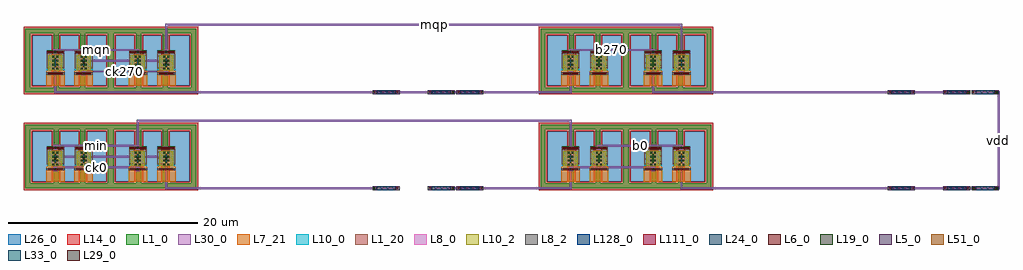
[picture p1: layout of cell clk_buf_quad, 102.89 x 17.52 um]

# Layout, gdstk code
from math import pi, radians
import gdstk
lib = gdstk.Library(unit=1e-6, precision=1e-09)
def R(c, l, rs):  # rectangles x0, y0, x1, y1
    for r in rs: c.add(gdstk.rectangle(r[:2], r[2:], *l))
def A(c, l, x, y, w, h, nx, ny, dx, dy):  # array of equal rectangles
    R(c, l, [(x+i*dx, y+j*dy, x+i*dx+w, y+j*dy+h) for i in range(nx) for j in range(ny)])
def P(c, l, *ps):  # polygons
    for p in ps: c.add(gdstk.Polygon(p, *l))
L1_0 = (1, 0)
L1_20 = (1, 20)
L5_0 = (5, 0)
L6_0 = (6, 0)
L7_21 = (7, 21)
L8_0 = (8, 0)
L8_2 = (8, 2)
L10_0 = (10, 0)
L10_2 = (10, 2)
L14_0 = (14, 0)
L19_0 = (19, 0)
L24_0 = (24, 0)
L26_0 = (26, 0)
L29_0 = (29, 0)
L30_0 = (30, 0)
L33_0 = (33, 0)
L51_0 = (51, 0)
L111_0 = (111, 0)
L128_0 = (128, 0)

npn13g2_base_cdns_675179 = lib.new_cell('npn13G2_base_CDNS_675179387640')
R(npn13g2_base_cdns_675179, L1_0, [(-0.925,-1.28,0.925,-0.98)])
P(npn13g2_base_cdns_675179, L1_20, [(-0.925,-0.98),(-0.925,0.62),(-0.445,0.62),(-0.235,0.83),(0.235,0.83),(0.445,0.62),(0.925,0.62),(0.925,-0.98)])
R(npn13g2_base_cdns_675179, L6_0, [(-0.825,-1.21,0.825,-1.05), (-0.76,1.06,0.76,1.22)])
P(npn13g2_base_cdns_675179, L7_21, [(-0.305,-0.94),(-0.555,-0.69),(-0.555,0.48),(-0.975,0.9),(-0.975,2.43),(0.975,2.43),(0.975,0.9),(0.555,0.48),(0.555,-0.69),(0.305,-0.94)])
R(npn13g2_base_cdns_675179, L8_0, [(-0.925,-1.25,0.925,-1.01), (-0.35,-0.77,0.35,0.785), (-0.975,1.02,0.975,1.26)])
R(npn13g2_base_cdns_675179, L10_0, [(-0.925,-0.77,0.925,0.785)])
A(npn13g2_base_cdns_675179, L19_0, -0.3, -0.7, 0.19, 0.19, 1, 4, 0, 0.41)
A(npn13g2_base_cdns_675179, L19_0, 0.11, -0.7, 0.19, 0.19, 1, 4, 0, 0.41)
R(npn13g2_base_cdns_675179, L33_0, [(-0.035,-0.45,0.035,0.45), (-0.035,-0.45,0.035,0.45)])
R(npn13g2_base_cdns_675179, L51_0, [(-0.085,-0.5,0.085,0.5)])
npn13g2_base_cdns_675179.add(gdstk.Label('npn13G2', (0.015,-2.31), layer=63, texttype=0))
npn13g2_base_cdns_675179.add(gdstk.Label('npn13G2_base', (0,0), layer=51, texttype=0))

npn13g2 = lib.new_cell('npn13G2')
P(npn13g2, L1_0, [(-3.15,-3.13),(-3.15,3.58),(2.65,3.58),(2.65,3.08),(-2.65,3.08),(-2.65,-2.63),(2.65,-2.63),(2.65,3.58),(3.15,3.58),(3.15,-3.13)])
R(npn13g2, L8_2, [(-0.965,-1.26,0.975,-1.02), (-0.915,1.01,0.925,1.25)])
R(npn13g2, L10_2, [(-0.745,-0.78,0.745,0.77)])
P(npn13g2, L14_0, [(-3.35,-3.33),(-3.35,3.78),(2.45,3.78),(2.45,2.88),(-2.45,2.88),(-2.45,-2.43),(2.45,-2.43),(2.45,3.78),(3.35,3.78),(3.35,-3.33)])
R(npn13g2, L26_0, [(-2.45,-2.43,2.45,2.88)])
npn13g2.add(gdstk.Reference(npn13g2_base_cdns_675179, (0,0), x_reflection=True))
npn13g2.add(gdstk.Label('Ae=1*1*0.07*0.90', (-1.977,-2.546), layer=63, texttype=0))
npn13g2.add(gdstk.Label('E', (0,-0.005), layer=63, texttype=0))
npn13g2.add(gdstk.Label('B', (0.005,-1.14), layer=63, texttype=0))
npn13g2.add(gdstk.Label('C', (0.005,1.13), layer=63, texttype=0))

xqi1a__clk_buf_quad_xqi1 = lib.new_cell('XQi1a__clk_buf_quad_XQi1a')
xqi1a__clk_buf_quad_xqi1.add(gdstk.Reference(npn13g2, (3.35,3.33)))
xqi1a__clk_buf_quad_xqi1.add(gdstk.Reference(npn13g2, (12.05,3.33)))

c_npn13g2_base_cdns_675179 = lib.new_cell('npn13G2_base_CDNS_675179387640$1')
R(c_npn13g2_base_cdns_675179, L1_0, [(-0.925,-1.28,0.925,-0.98)])
P(c_npn13g2_base_cdns_675179, L1_20, [(-0.925,-0.98),(-0.925,0.62),(-0.445,0.62),(-0.235,0.83),(0.235,0.83),(0.445,0.62),(0.925,0.62),(0.925,-0.98)])
R(c_npn13g2_base_cdns_675179, L6_0, [(-0.825,-1.21,0.825,-1.05), (-0.76,1.06,0.76,1.22)])
P(c_npn13g2_base_cdns_675179, L7_21, [(-0.305,-0.94),(-0.555,-0.69),(-0.555,0.48),(-0.975,0.9),(-0.975,2.43),(0.975,2.43),(0.975,0.9),(0.555,0.48),(0.555,-0.69),(0.305,-0.94)])
R(c_npn13g2_base_cdns_675179, L8_0, [(-0.925,-1.25,0.925,-1.01), (-0.35,-0.77,0.35,0.785), (-0.975,1.02,0.975,1.26)])
R(c_npn13g2_base_cdns_675179, L10_0, [(-0.925,-0.77,0.925,0.785)])
A(c_npn13g2_base_cdns_675179, L19_0, -0.3, -0.7, 0.19, 0.19, 1, 4, 0, 0.41)
A(c_npn13g2_base_cdns_675179, L19_0, 0.11, -0.7, 0.19, 0.19, 1, 4, 0, 0.41)
R(c_npn13g2_base_cdns_675179, L33_0, [(-0.035,-0.45,0.035,0.45), (-0.035,-0.45,0.035,0.45)])
R(c_npn13g2_base_cdns_675179, L51_0, [(-0.085,-0.5,0.085,0.5)])
c_npn13g2_base_cdns_675179.add(gdstk.Label('npn13G2', (0.015,-2.31), layer=63, texttype=0))
c_npn13g2_base_cdns_675179.add(gdstk.Label('npn13G2_base', (0,0), layer=51, texttype=0))

npn13g2_1 = lib.new_cell('npn13G2$1')
P(npn13g2_1, L1_0, [(-3.15,-3.13),(-3.15,3.58),(2.65,3.58),(2.65,3.08),(-2.65,3.08),(-2.65,-2.63),(2.65,-2.63),(2.65,3.58),(3.15,3.58),(3.15,-3.13)])
R(npn13g2_1, L8_2, [(-0.965,-1.26,0.975,-1.02), (-0.915,1.01,0.925,1.25)])
R(npn13g2_1, L10_2, [(-0.745,-0.78,0.745,0.77)])
P(npn13g2_1, L14_0, [(-3.35,-3.33),(-3.35,3.78),(2.45,3.78),(2.45,2.88),(-2.45,2.88),(-2.45,-2.43),(2.45,-2.43),(2.45,3.78),(3.35,3.78),(3.35,-3.33)])
R(npn13g2_1, L26_0, [(-2.45,-2.43,2.45,2.88)])
npn13g2_1.add(gdstk.Reference(c_npn13g2_base_cdns_675179, (0,0), x_reflection=True))
npn13g2_1.add(gdstk.Label('Ae=1*1*0.07*0.90', (-1.977,-2.546), layer=63, texttype=0))
npn13g2_1.add(gdstk.Label('E', (0,-0.005), layer=63, texttype=0))
npn13g2_1.add(gdstk.Label('B', (0.005,-1.14), layer=63, texttype=0))
npn13g2_1.add(gdstk.Label('C', (0.005,1.13), layer=63, texttype=0))

xqi1b__clk_buf_quad_xqi1 = lib.new_cell('XQi1b__clk_buf_quad_XQi1b')
xqi1b__clk_buf_quad_xqi1.add(gdstk.Reference(npn13g2_1, (3.35,3.33)))
xqi1b__clk_buf_quad_xqi1.add(gdstk.Reference(npn13g2_1, (12.05,3.33)))

clk_buf_quad_rti1__core = lib.new_cell('clk_buf_quad_Rti1__core')
R(clk_buf_quad_rti1__core, L5_0, [(0,0,0.42,0.42), (2.42,0,2.84,0.42)])
R(clk_buf_quad_rti1__core, L6_0, [(0.13,0.13,0.29,0.29), (2.55,0.13,2.71,0.29)])
R(clk_buf_quad_rti1__core, L8_0, [(0,0,0.42,0.42), (2.42,0,2.84,0.42)])
R(clk_buf_quad_rti1__core, L24_0, [(0.42,0,2.42,0.42)])
R(clk_buf_quad_rti1__core, L111_0, [(0.42,0,2.42,0.42)])
R(clk_buf_quad_rti1__core, L128_0, [(0.42,0,2.42,0.42)])

rti1__clk_buf_quad_rti1 = lib.new_cell('Rti1__clk_buf_quad_Rti1')
rti1__clk_buf_quad_rti1.add(gdstk.Reference(clk_buf_quad_rti1__core, (0,0)))

clk_buf_quad_rli1a__core = lib.new_cell('clk_buf_quad_RLi1a__core')
R(clk_buf_quad_rli1a__core, L5_0, [(0,0,0.42,0.42), (2.42,0,2.84,0.42)])
R(clk_buf_quad_rli1a__core, L6_0, [(0.13,0.13,0.29,0.29), (2.55,0.13,2.71,0.29)])
R(clk_buf_quad_rli1a__core, L8_0, [(0,0,0.42,0.42), (2.42,0,2.84,0.42)])
R(clk_buf_quad_rli1a__core, L24_0, [(0.42,0,2.42,0.42)])
R(clk_buf_quad_rli1a__core, L111_0, [(0.42,0,2.42,0.42)])
R(clk_buf_quad_rli1a__core, L128_0, [(0.42,0,2.42,0.42)])

rli1a__clk_buf_quad_rli1 = lib.new_cell('RLi1a__clk_buf_quad_RLi1a')
rli1a__clk_buf_quad_rli1.add(gdstk.Reference(clk_buf_quad_rli1a__core, (0,0)))

clk_buf_quad_rli1b__core = lib.new_cell('clk_buf_quad_RLi1b__core')
R(clk_buf_quad_rli1b__core, L5_0, [(0,0,0.42,0.42), (2.42,0,2.84,0.42)])
R(clk_buf_quad_rli1b__core, L6_0, [(0.13,0.13,0.29,0.29), (2.55,0.13,2.71,0.29)])
R(clk_buf_quad_rli1b__core, L8_0, [(0,0,0.42,0.42), (2.42,0,2.84,0.42)])
R(clk_buf_quad_rli1b__core, L24_0, [(0.42,0,2.42,0.42)])
R(clk_buf_quad_rli1b__core, L111_0, [(0.42,0,2.42,0.42)])
R(clk_buf_quad_rli1b__core, L128_0, [(0.42,0,2.42,0.42)])

rli1b__clk_buf_quad_rli1 = lib.new_cell('RLi1b__clk_buf_quad_RLi1b')
rli1b__clk_buf_quad_rli1.add(gdstk.Reference(clk_buf_quad_rli1b__core, (0,0)))

c_npn13g2_base_cdns_675179_ = lib.new_cell('npn13G2_base_CDNS_675179387640$2')
R(c_npn13g2_base_cdns_675179_, L1_0, [(-0.925,-1.28,0.925,-0.98)])
P(c_npn13g2_base_cdns_675179_, L1_20, [(-0.925,-0.98),(-0.925,0.62),(-0.445,0.62),(-0.235,0.83),(0.235,0.83),(0.445,0.62),(0.925,0.62),(0.925,-0.98)])
R(c_npn13g2_base_cdns_675179_, L6_0, [(-0.825,-1.21,0.825,-1.05), (-0.76,1.06,0.76,1.22)])
P(c_npn13g2_base_cdns_675179_, L7_21, [(-0.305,-0.94),(-0.555,-0.69),(-0.555,0.48),(-0.975,0.9),(-0.975,2.43),(0.975,2.43),(0.975,0.9),(0.555,0.48),(0.555,-0.69),(0.305,-0.94)])
R(c_npn13g2_base_cdns_675179_, L8_0, [(-0.925,-1.25,0.925,-1.01), (-0.35,-0.77,0.35,0.785), (-0.975,1.02,0.975,1.26)])
R(c_npn13g2_base_cdns_675179_, L10_0, [(-0.925,-0.77,0.925,0.785)])
A(c_npn13g2_base_cdns_675179_, L19_0, -0.3, -0.7, 0.19, 0.19, 1, 4, 0, 0.41)
A(c_npn13g2_base_cdns_675179_, L19_0, 0.11, -0.7, 0.19, 0.19, 1, 4, 0, 0.41)
R(c_npn13g2_base_cdns_675179_, L33_0, [(-0.035,-0.45,0.035,0.45), (-0.035,-0.45,0.035,0.45)])
R(c_npn13g2_base_cdns_675179_, L51_0, [(-0.085,-0.5,0.085,0.5)])
c_npn13g2_base_cdns_675179_.add(gdstk.Label('npn13G2', (0.015,-2.31), layer=63, texttype=0))
c_npn13g2_base_cdns_675179_.add(gdstk.Label('npn13G2_base', (0,0), layer=51, texttype=0))

npn13g2_2 = lib.new_cell('npn13G2$2')
P(npn13g2_2, L1_0, [(-3.15,-3.13),(-3.15,3.58),(2.65,3.58),(2.65,3.08),(-2.65,3.08),(-2.65,-2.63),(2.65,-2.63),(2.65,3.58),(3.15,3.58),(3.15,-3.13)])
R(npn13g2_2, L8_2, [(-0.965,-1.26,0.975,-1.02), (-0.915,1.01,0.925,1.25)])
R(npn13g2_2, L10_2, [(-0.745,-0.78,0.745,0.77)])
P(npn13g2_2, L14_0, [(-3.35,-3.33),(-3.35,3.78),(2.45,3.78),(2.45,2.88),(-2.45,2.88),(-2.45,-2.43),(2.45,-2.43),(2.45,3.78),(3.35,3.78),(3.35,-3.33)])
R(npn13g2_2, L26_0, [(-2.45,-2.43,2.45,2.88)])
npn13g2_2.add(gdstk.Reference(c_npn13g2_base_cdns_675179_, (0,0), x_reflection=True))
npn13g2_2.add(gdstk.Label('Ae=1*1*0.07*0.90', (-1.977,-2.546), layer=63, texttype=0))
npn13g2_2.add(gdstk.Label('E', (0,-0.005), layer=63, texttype=0))
npn13g2_2.add(gdstk.Label('B', (0.005,-1.14), layer=63, texttype=0))
npn13g2_2.add(gdstk.Label('C', (0.005,1.13), layer=63, texttype=0))

xqi2a__clk_buf_quad_xqi2 = lib.new_cell('XQi2a__clk_buf_quad_XQi2a')
xqi2a__clk_buf_quad_xqi2.add(gdstk.Reference(npn13g2_2, (3.35,3.33)))
xqi2a__clk_buf_quad_xqi2.add(gdstk.Reference(npn13g2_2, (12.05,3.33)))

c_npn13g2_base_cdns_675179__ = lib.new_cell('npn13G2_base_CDNS_675179387640$3')
R(c_npn13g2_base_cdns_675179__, L1_0, [(-0.925,-1.28,0.925,-0.98)])
P(c_npn13g2_base_cdns_675179__, L1_20, [(-0.925,-0.98),(-0.925,0.62),(-0.445,0.62),(-0.235,0.83),(0.235,0.83),(0.445,0.62),(0.925,0.62),(0.925,-0.98)])
R(c_npn13g2_base_cdns_675179__, L6_0, [(-0.825,-1.21,0.825,-1.05), (-0.76,1.06,0.76,1.22)])
P(c_npn13g2_base_cdns_675179__, L7_21, [(-0.305,-0.94),(-0.555,-0.69),(-0.555,0.48),(-0.975,0.9),(-0.975,2.43),(0.975,2.43),(0.975,0.9),(0.555,0.48),(0.555,-0.69),(0.305,-0.94)])
R(c_npn13g2_base_cdns_675179__, L8_0, [(-0.925,-1.25,0.925,-1.01), (-0.35,-0.77,0.35,0.785), (-0.975,1.02,0.975,1.26)])
R(c_npn13g2_base_cdns_675179__, L10_0, [(-0.925,-0.77,0.925,0.785)])
A(c_npn13g2_base_cdns_675179__, L19_0, -0.3, -0.7, 0.19, 0.19, 1, 4, 0, 0.41)
A(c_npn13g2_base_cdns_675179__, L19_0, 0.11, -0.7, 0.19, 0.19, 1, 4, 0, 0.41)
R(c_npn13g2_base_cdns_675179__, L33_0, [(-0.035,-0.45,0.035,0.45), (-0.035,-0.45,0.035,0.45)])
R(c_npn13g2_base_cdns_675179__, L51_0, [(-0.085,-0.5,0.085,0.5)])
c_npn13g2_base_cdns_675179__.add(gdstk.Label('npn13G2', (0.015,-2.31), layer=63, texttype=0))
c_npn13g2_base_cdns_675179__.add(gdstk.Label('npn13G2_base', (0,0), layer=51, texttype=0))

npn13g2_3 = lib.new_cell('npn13G2$3')
P(npn13g2_3, L1_0, [(-3.15,-3.13),(-3.15,3.58),(2.65,3.58),(2.65,3.08),(-2.65,3.08),(-2.65,-2.63),(2.65,-2.63),(2.65,3.58),(3.15,3.58),(3.15,-3.13)])
R(npn13g2_3, L8_2, [(-0.965,-1.26,0.975,-1.02), (-0.915,1.01,0.925,1.25)])
R(npn13g2_3, L10_2, [(-0.745,-0.78,0.745,0.77)])
P(npn13g2_3, L14_0, [(-3.35,-3.33),(-3.35,3.78),(2.45,3.78),(2.45,2.88),(-2.45,2.88),(-2.45,-2.43),(2.45,-2.43),(2.45,3.78),(3.35,3.78),(3.35,-3.33)])
R(npn13g2_3, L26_0, [(-2.45,-2.43,2.45,2.88)])
npn13g2_3.add(gdstk.Reference(c_npn13g2_base_cdns_675179__, (0,0), x_reflection=True))
npn13g2_3.add(gdstk.Label('Ae=1*1*0.07*0.90', (-1.977,-2.546), layer=63, texttype=0))
npn13g2_3.add(gdstk.Label('E', (0,-0.005), layer=63, texttype=0))
npn13g2_3.add(gdstk.Label('B', (0.005,-1.14), layer=63, texttype=0))
npn13g2_3.add(gdstk.Label('C', (0.005,1.13), layer=63, texttype=0))

xqi2b__clk_buf_quad_xqi2 = lib.new_cell('XQi2b__clk_buf_quad_XQi2b')
xqi2b__clk_buf_quad_xqi2.add(gdstk.Reference(npn13g2_3, (3.35,3.33)))
xqi2b__clk_buf_quad_xqi2.add(gdstk.Reference(npn13g2_3, (12.05,3.33)))

clk_buf_quad_rti2__core = lib.new_cell('clk_buf_quad_Rti2__core')
R(clk_buf_quad_rti2__core, L5_0, [(0,0,0.42,0.42), (2.42,0,2.84,0.42)])
R(clk_buf_quad_rti2__core, L6_0, [(0.13,0.13,0.29,0.29), (2.55,0.13,2.71,0.29)])
R(clk_buf_quad_rti2__core, L8_0, [(0,0,0.42,0.42), (2.42,0,2.84,0.42)])
R(clk_buf_quad_rti2__core, L24_0, [(0.42,0,2.42,0.42)])
R(clk_buf_quad_rti2__core, L111_0, [(0.42,0,2.42,0.42)])
R(clk_buf_quad_rti2__core, L128_0, [(0.42,0,2.42,0.42)])

rti2__clk_buf_quad_rti2 = lib.new_cell('Rti2__clk_buf_quad_Rti2')
rti2__clk_buf_quad_rti2.add(gdstk.Reference(clk_buf_quad_rti2__core, (0,0)))

clk_buf_quad_rli2a__core = lib.new_cell('clk_buf_quad_RLi2a__core')
R(clk_buf_quad_rli2a__core, L5_0, [(0,0,0.42,0.42), (2.42,0,2.84,0.42)])
R(clk_buf_quad_rli2a__core, L6_0, [(0.13,0.13,0.29,0.29), (2.55,0.13,2.71,0.29)])
R(clk_buf_quad_rli2a__core, L8_0, [(0,0,0.42,0.42), (2.42,0,2.84,0.42)])
R(clk_buf_quad_rli2a__core, L24_0, [(0.42,0,2.42,0.42)])
R(clk_buf_quad_rli2a__core, L111_0, [(0.42,0,2.42,0.42)])
R(clk_buf_quad_rli2a__core, L128_0, [(0.42,0,2.42,0.42)])

rli2a__clk_buf_quad_rli2 = lib.new_cell('RLi2a__clk_buf_quad_RLi2a')
rli2a__clk_buf_quad_rli2.add(gdstk.Reference(clk_buf_quad_rli2a__core, (0,0)))

clk_buf_quad_rli2b__core = lib.new_cell('clk_buf_quad_RLi2b__core')
R(clk_buf_quad_rli2b__core, L5_0, [(0,0,0.42,0.42), (2.42,0,2.84,0.42)])
R(clk_buf_quad_rli2b__core, L6_0, [(0.13,0.13,0.29,0.29), (2.55,0.13,2.71,0.29)])
R(clk_buf_quad_rli2b__core, L8_0, [(0,0,0.42,0.42), (2.42,0,2.84,0.42)])
R(clk_buf_quad_rli2b__core, L24_0, [(0.42,0,2.42,0.42)])
R(clk_buf_quad_rli2b__core, L111_0, [(0.42,0,2.42,0.42)])
R(clk_buf_quad_rli2b__core, L128_0, [(0.42,0,2.42,0.42)])

rli2b__clk_buf_quad_rli2 = lib.new_cell('RLi2b__clk_buf_quad_RLi2b')
rli2b__clk_buf_quad_rli2.add(gdstk.Reference(clk_buf_quad_rli2b__core, (0,0)))

c_npn13g2_base_cdns_675179___ = lib.new_cell('npn13G2_base_CDNS_675179387640$4')
R(c_npn13g2_base_cdns_675179___, L1_0, [(-0.925,-1.28,0.925,-0.98)])
P(c_npn13g2_base_cdns_675179___, L1_20, [(-0.925,-0.98),(-0.925,0.62),(-0.445,0.62),(-0.235,0.83),(0.235,0.83),(0.445,0.62),(0.925,0.62),(0.925,-0.98)])
R(c_npn13g2_base_cdns_675179___, L6_0, [(-0.825,-1.21,0.825,-1.05), (-0.76,1.06,0.76,1.22)])
P(c_npn13g2_base_cdns_675179___, L7_21, [(-0.305,-0.94),(-0.555,-0.69),(-0.555,0.48),(-0.975,0.9),(-0.975,2.43),(0.975,2.43),(0.975,0.9),(0.555,0.48),(0.555,-0.69),(0.305,-0.94)])
R(c_npn13g2_base_cdns_675179___, L8_0, [(-0.925,-1.25,0.925,-1.01), (-0.35,-0.77,0.35,0.785), (-0.975,1.02,0.975,1.26)])
R(c_npn13g2_base_cdns_675179___, L10_0, [(-0.925,-0.77,0.925,0.785)])
A(c_npn13g2_base_cdns_675179___, L19_0, -0.3, -0.7, 0.19, 0.19, 1, 4, 0, 0.41)
A(c_npn13g2_base_cdns_675179___, L19_0, 0.11, -0.7, 0.19, 0.19, 1, 4, 0, 0.41)
R(c_npn13g2_base_cdns_675179___, L33_0, [(-0.035,-0.45,0.035,0.45), (-0.035,-0.45,0.035,0.45)])
R(c_npn13g2_base_cdns_675179___, L51_0, [(-0.085,-0.5,0.085,0.5)])
c_npn13g2_base_cdns_675179___.add(gdstk.Label('npn13G2', (0.015,-2.31), layer=63, texttype=0))
c_npn13g2_base_cdns_675179___.add(gdstk.Label('npn13G2_base', (0,0), layer=51, texttype=0))

npn13g2_4 = lib.new_cell('npn13G2$4')
P(npn13g2_4, L1_0, [(-3.15,-3.13),(-3.15,3.58),(2.65,3.58),(2.65,3.08),(-2.65,3.08),(-2.65,-2.63),(2.65,-2.63),(2.65,3.58),(3.15,3.58),(3.15,-3.13)])
R(npn13g2_4, L8_2, [(-0.965,-1.26,0.975,-1.02), (-0.915,1.01,0.925,1.25)])
R(npn13g2_4, L10_2, [(-0.745,-0.78,0.745,0.77)])
P(npn13g2_4, L14_0, [(-3.35,-3.33),(-3.35,3.78),(2.45,3.78),(2.45,2.88),(-2.45,2.88),(-2.45,-2.43),(2.45,-2.43),(2.45,3.78),(3.35,3.78),(3.35,-3.33)])
R(npn13g2_4, L26_0, [(-2.45,-2.43,2.45,2.88)])
npn13g2_4.add(gdstk.Reference(c_npn13g2_base_cdns_675179___, (0,0), x_reflection=True))
npn13g2_4.add(gdstk.Label('Ae=1*1*0.07*0.90', (-1.977,-2.546), layer=63, texttype=0))
npn13g2_4.add(gdstk.Label('E', (0,-0.005), layer=63, texttype=0))
npn13g2_4.add(gdstk.Label('B', (0.005,-1.14), layer=63, texttype=0))
npn13g2_4.add(gdstk.Label('C', (0.005,1.13), layer=63, texttype=0))

xqq1a__clk_buf_quad_xqq1 = lib.new_cell('XQq1a__clk_buf_quad_XQq1a')
xqq1a__clk_buf_quad_xqq1.add(gdstk.Reference(npn13g2_4, (3.35,3.33)))
xqq1a__clk_buf_quad_xqq1.add(gdstk.Reference(npn13g2_4, (12.05,3.33)))

c_npn13g2_base_cdns_675179____ = lib.new_cell('npn13G2_base_CDNS_675179387640$5')
R(c_npn13g2_base_cdns_675179____, L1_0, [(-0.925,-1.28,0.925,-0.98)])
P(c_npn13g2_base_cdns_675179____, L1_20, [(-0.925,-0.98),(-0.925,0.62),(-0.445,0.62),(-0.235,0.83),(0.235,0.83),(0.445,0.62),(0.925,0.62),(0.925,-0.98)])
R(c_npn13g2_base_cdns_675179____, L6_0, [(-0.825,-1.21,0.825,-1.05), (-0.76,1.06,0.76,1.22)])
P(c_npn13g2_base_cdns_675179____, L7_21, [(-0.305,-0.94),(-0.555,-0.69),(-0.555,0.48),(-0.975,0.9),(-0.975,2.43),(0.975,2.43),(0.975,0.9),(0.555,0.48),(0.555,-0.69),(0.305,-0.94)])
R(c_npn13g2_base_cdns_675179____, L8_0, [(-0.925,-1.25,0.925,-1.01), (-0.35,-0.77,0.35,0.785), (-0.975,1.02,0.975,1.26)])
R(c_npn13g2_base_cdns_675179____, L10_0, [(-0.925,-0.77,0.925,0.785)])
A(c_npn13g2_base_cdns_675179____, L19_0, -0.3, -0.7, 0.19, 0.19, 1, 4, 0, 0.41)
A(c_npn13g2_base_cdns_675179____, L19_0, 0.11, -0.7, 0.19, 0.19, 1, 4, 0, 0.41)
R(c_npn13g2_base_cdns_675179____, L33_0, [(-0.035,-0.45,0.035,0.45), (-0.035,-0.45,0.035,0.45)])
R(c_npn13g2_base_cdns_675179____, L51_0, [(-0.085,-0.5,0.085,0.5)])
c_npn13g2_base_cdns_675179____.add(gdstk.Label('npn13G2', (0.015,-2.31), layer=63, texttype=0))
c_npn13g2_base_cdns_675179____.add(gdstk.Label('npn13G2_base', (0,0), layer=51, texttype=0))

npn13g2_5 = lib.new_cell('npn13G2$5')
P(npn13g2_5, L1_0, [(-3.15,-3.13),(-3.15,3.58),(2.65,3.58),(2.65,3.08),(-2.65,3.08),(-2.65,-2.63),(2.65,-2.63),(2.65,3.58),(3.15,3.58),(3.15,-3.13)])
R(npn13g2_5, L8_2, [(-0.965,-1.26,0.975,-1.02), (-0.915,1.01,0.925,1.25)])
R(npn13g2_5, L10_2, [(-0.745,-0.78,0.745,0.77)])
P(npn13g2_5, L14_0, [(-3.35,-3.33),(-3.35,3.78),(2.45,3.78),(2.45,2.88),(-2.45,2.88),(-2.45,-2.43),(2.45,-2.43),(2.45,3.78),(3.35,3.78),(3.35,-3.33)])
R(npn13g2_5, L26_0, [(-2.45,-2.43,2.45,2.88)])
npn13g2_5.add(gdstk.Reference(c_npn13g2_base_cdns_675179____, (0,0), x_reflection=True))
npn13g2_5.add(gdstk.Label('Ae=1*1*0.07*0.90', (-1.977,-2.546), layer=63, texttype=0))
npn13g2_5.add(gdstk.Label('E', (0,-0.005), layer=63, texttype=0))
npn13g2_5.add(gdstk.Label('B', (0.005,-1.14), layer=63, texttype=0))
npn13g2_5.add(gdstk.Label('C', (0.005,1.13), layer=63, texttype=0))

xqq1b__clk_buf_quad_xqq1 = lib.new_cell('XQq1b__clk_buf_quad_XQq1b')
xqq1b__clk_buf_quad_xqq1.add(gdstk.Reference(npn13g2_5, (3.35,3.33)))
xqq1b__clk_buf_quad_xqq1.add(gdstk.Reference(npn13g2_5, (12.05,3.33)))

clk_buf_quad_rtq1__core = lib.new_cell('clk_buf_quad_Rtq1__core')
R(clk_buf_quad_rtq1__core, L5_0, [(0,0,0.42,0.42), (2.42,0,2.84,0.42)])
R(clk_buf_quad_rtq1__core, L6_0, [(0.13,0.13,0.29,0.29), (2.55,0.13,2.71,0.29)])
R(clk_buf_quad_rtq1__core, L8_0, [(0,0,0.42,0.42), (2.42,0,2.84,0.42)])
R(clk_buf_quad_rtq1__core, L24_0, [(0.42,0,2.42,0.42)])
R(clk_buf_quad_rtq1__core, L111_0, [(0.42,0,2.42,0.42)])
R(clk_buf_quad_rtq1__core, L128_0, [(0.42,0,2.42,0.42)])

rtq1__clk_buf_quad_rtq1 = lib.new_cell('Rtq1__clk_buf_quad_Rtq1')
rtq1__clk_buf_quad_rtq1.add(gdstk.Reference(clk_buf_quad_rtq1__core, (0,0)))

clk_buf_quad_rlq1a__core = lib.new_cell('clk_buf_quad_RLq1a__core')
R(clk_buf_quad_rlq1a__core, L5_0, [(0,0,0.42,0.42), (2.42,0,2.84,0.42)])
R(clk_buf_quad_rlq1a__core, L6_0, [(0.13,0.13,0.29,0.29), (2.55,0.13,2.71,0.29)])
R(clk_buf_quad_rlq1a__core, L8_0, [(0,0,0.42,0.42), (2.42,0,2.84,0.42)])
R(clk_buf_quad_rlq1a__core, L24_0, [(0.42,0,2.42,0.42)])
R(clk_buf_quad_rlq1a__core, L111_0, [(0.42,0,2.42,0.42)])
R(clk_buf_quad_rlq1a__core, L128_0, [(0.42,0,2.42,0.42)])

rlq1a__clk_buf_quad_rlq1 = lib.new_cell('RLq1a__clk_buf_quad_RLq1a')
rlq1a__clk_buf_quad_rlq1.add(gdstk.Reference(clk_buf_quad_rlq1a__core, (0,0)))

clk_buf_quad_rlq1b__core = lib.new_cell('clk_buf_quad_RLq1b__core')
R(clk_buf_quad_rlq1b__core, L5_0, [(0,0,0.42,0.42), (2.42,0,2.84,0.42)])
R(clk_buf_quad_rlq1b__core, L6_0, [(0.13,0.13,0.29,0.29), (2.55,0.13,2.71,0.29)])
R(clk_buf_quad_rlq1b__core, L8_0, [(0,0,0.42,0.42), (2.42,0,2.84,0.42)])
R(clk_buf_quad_rlq1b__core, L24_0, [(0.42,0,2.42,0.42)])
R(clk_buf_quad_rlq1b__core, L111_0, [(0.42,0,2.42,0.42)])
R(clk_buf_quad_rlq1b__core, L128_0, [(0.42,0,2.42,0.42)])

rlq1b__clk_buf_quad_rlq1 = lib.new_cell('RLq1b__clk_buf_quad_RLq1b')
rlq1b__clk_buf_quad_rlq1.add(gdstk.Reference(clk_buf_quad_rlq1b__core, (0,0)))

c_npn13g2_base_cdns_675179_____ = lib.new_cell('npn13G2_base_CDNS_675179387640$6')
R(c_npn13g2_base_cdns_675179_____, L1_0, [(-0.925,-1.28,0.925,-0.98)])
P(c_npn13g2_base_cdns_675179_____, L1_20, [(-0.925,-0.98),(-0.925,0.62),(-0.445,0.62),(-0.235,0.83),(0.235,0.83),(0.445,0.62),(0.925,0.62),(0.925,-0.98)])
R(c_npn13g2_base_cdns_675179_____, L6_0, [(-0.825,-1.21,0.825,-1.05), (-0.76,1.06,0.76,1.22)])
P(c_npn13g2_base_cdns_675179_____, L7_21, [(-0.305,-0.94),(-0.555,-0.69),(-0.555,0.48),(-0.975,0.9),(-0.975,2.43),(0.975,2.43),(0.975,0.9),(0.555,0.48),(0.555,-0.69),(0.305,-0.94)])
R(c_npn13g2_base_cdns_675179_____, L8_0, [(-0.925,-1.25,0.925,-1.01), (-0.35,-0.77,0.35,0.785), (-0.975,1.02,0.975,1.26)])
R(c_npn13g2_base_cdns_675179_____, L10_0, [(-0.925,-0.77,0.925,0.785)])
A(c_npn13g2_base_cdns_675179_____, L19_0, -0.3, -0.7, 0.19, 0.19, 1, 4, 0, 0.41)
A(c_npn13g2_base_cdns_675179_____, L19_0, 0.11, -0.7, 0.19, 0.19, 1, 4, 0, 0.41)
R(c_npn13g2_base_cdns_675179_____, L33_0, [(-0.035,-0.45,0.035,0.45), (-0.035,-0.45,0.035,0.45)])
R(c_npn13g2_base_cdns_675179_____, L51_0, [(-0.085,-0.5,0.085,0.5)])
c_npn13g2_base_cdns_675179_____.add(gdstk.Label('npn13G2', (0.015,-2.31), layer=63, texttype=0))
c_npn13g2_base_cdns_675179_____.add(gdstk.Label('npn13G2_base', (0,0), layer=51, texttype=0))

npn13g2_6 = lib.new_cell('npn13G2$6')
P(npn13g2_6, L1_0, [(-3.15,-3.13),(-3.15,3.58),(2.65,3.58),(2.65,3.08),(-2.65,3.08),(-2.65,-2.63),(2.65,-2.63),(2.65,3.58),(3.15,3.58),(3.15,-3.13)])
R(npn13g2_6, L8_2, [(-0.965,-1.26,0.975,-1.02), (-0.915,1.01,0.925,1.25)])
R(npn13g2_6, L10_2, [(-0.745,-0.78,0.745,0.77)])
P(npn13g2_6, L14_0, [(-3.35,-3.33),(-3.35,3.78),(2.45,3.78),(2.45,2.88),(-2.45,2.88),(-2.45,-2.43),(2.45,-2.43),(2.45,3.78),(3.35,3.78),(3.35,-3.33)])
R(npn13g2_6, L26_0, [(-2.45,-2.43,2.45,2.88)])
npn13g2_6.add(gdstk.Reference(c_npn13g2_base_cdns_675179_____, (0,0), x_reflection=True))
npn13g2_6.add(gdstk.Label('Ae=1*1*0.07*0.90', (-1.977,-2.546), layer=63, texttype=0))
npn13g2_6.add(gdstk.Label('E', (0,-0.005), layer=63, texttype=0))
npn13g2_6.add(gdstk.Label('B', (0.005,-1.14), layer=63, texttype=0))
npn13g2_6.add(gdstk.Label('C', (0.005,1.13), layer=63, texttype=0))

xqq2a__clk_buf_quad_xqq2 = lib.new_cell('XQq2a__clk_buf_quad_XQq2a')
xqq2a__clk_buf_quad_xqq2.add(gdstk.Reference(npn13g2_6, (3.35,3.33)))
xqq2a__clk_buf_quad_xqq2.add(gdstk.Reference(npn13g2_6, (12.05,3.33)))

c_npn13g2_base_cdns_675179______ = lib.new_cell('npn13G2_base_CDNS_675179387640$7')
R(c_npn13g2_base_cdns_675179______, L1_0, [(-0.925,-1.28,0.925,-0.98)])
P(c_npn13g2_base_cdns_675179______, L1_20, [(-0.925,-0.98),(-0.925,0.62),(-0.445,0.62),(-0.235,0.83),(0.235,0.83),(0.445,0.62),(0.925,0.62),(0.925,-0.98)])
R(c_npn13g2_base_cdns_675179______, L6_0, [(-0.825,-1.21,0.825,-1.05), (-0.76,1.06,0.76,1.22)])
P(c_npn13g2_base_cdns_675179______, L7_21, [(-0.305,-0.94),(-0.555,-0.69),(-0.555,0.48),(-0.975,0.9),(-0.975,2.43),(0.975,2.43),(0.975,0.9),(0.555,0.48),(0.555,-0.69),(0.305,-0.94)])
R(c_npn13g2_base_cdns_675179______, L8_0, [(-0.925,-1.25,0.925,-1.01), (-0.35,-0.77,0.35,0.785), (-0.975,1.02,0.975,1.26)])
R(c_npn13g2_base_cdns_675179______, L10_0, [(-0.925,-0.77,0.925,0.785)])
A(c_npn13g2_base_cdns_675179______, L19_0, -0.3, -0.7, 0.19, 0.19, 1, 4, 0, 0.41)
A(c_npn13g2_base_cdns_675179______, L19_0, 0.11, -0.7, 0.19, 0.19, 1, 4, 0, 0.41)
R(c_npn13g2_base_cdns_675179______, L33_0, [(-0.035,-0.45,0.035,0.45), (-0.035,-0.45,0.035,0.45)])
R(c_npn13g2_base_cdns_675179______, L51_0, [(-0.085,-0.5,0.085,0.5)])
c_npn13g2_base_cdns_675179______.add(gdstk.Label('npn13G2', (0.015,-2.31), layer=63, texttype=0))
c_npn13g2_base_cdns_675179______.add(gdstk.Label('npn13G2_base', (0,0), layer=51, texttype=0))

npn13g2_7 = lib.new_cell('npn13G2$7')
P(npn13g2_7, L1_0, [(-3.15,-3.13),(-3.15,3.58),(2.65,3.58),(2.65,3.08),(-2.65,3.08),(-2.65,-2.63),(2.65,-2.63),(2.65,3.58),(3.15,3.58),(3.15,-3.13)])
R(npn13g2_7, L8_2, [(-0.965,-1.26,0.975,-1.02), (-0.915,1.01,0.925,1.25)])
R(npn13g2_7, L10_2, [(-0.745,-0.78,0.745,0.77)])
P(npn13g2_7, L14_0, [(-3.35,-3.33),(-3.35,3.78),(2.45,3.78),(2.45,2.88),(-2.45,2.88),(-2.45,-2.43),(2.45,-2.43),(2.45,3.78),(3.35,3.78),(3.35,-3.33)])
R(npn13g2_7, L26_0, [(-2.45,-2.43,2.45,2.88)])
npn13g2_7.add(gdstk.Reference(c_npn13g2_base_cdns_675179______, (0,0), x_reflection=True))
npn13g2_7.add(gdstk.Label('Ae=1*1*0.07*0.90', (-1.977,-2.546), layer=63, texttype=0))
npn13g2_7.add(gdstk.Label('E', (0,-0.005), layer=63, texttype=0))
npn13g2_7.add(gdstk.Label('B', (0.005,-1.14), layer=63, texttype=0))
npn13g2_7.add(gdstk.Label('C', (0.005,1.13), layer=63, texttype=0))

xqq2b__clk_buf_quad_xqq2 = lib.new_cell('XQq2b__clk_buf_quad_XQq2b')
xqq2b__clk_buf_quad_xqq2.add(gdstk.Reference(npn13g2_7, (3.35,3.33)))
xqq2b__clk_buf_quad_xqq2.add(gdstk.Reference(npn13g2_7, (12.05,3.33)))

clk_buf_quad_rtq2__core = lib.new_cell('clk_buf_quad_Rtq2__core')
R(clk_buf_quad_rtq2__core, L5_0, [(0,0,0.42,0.42), (2.42,0,2.84,0.42)])
R(clk_buf_quad_rtq2__core, L6_0, [(0.13,0.13,0.29,0.29), (2.55,0.13,2.71,0.29)])
R(clk_buf_quad_rtq2__core, L8_0, [(0,0,0.42,0.42), (2.42,0,2.84,0.42)])
R(clk_buf_quad_rtq2__core, L24_0, [(0.42,0,2.42,0.42)])
R(clk_buf_quad_rtq2__core, L111_0, [(0.42,0,2.42,0.42)])
R(clk_buf_quad_rtq2__core, L128_0, [(0.42,0,2.42,0.42)])

rtq2__clk_buf_quad_rtq2 = lib.new_cell('Rtq2__clk_buf_quad_Rtq2')
rtq2__clk_buf_quad_rtq2.add(gdstk.Reference(clk_buf_quad_rtq2__core, (0,0)))

clk_buf_quad_rlq2a__core = lib.new_cell('clk_buf_quad_RLq2a__core')
R(clk_buf_quad_rlq2a__core, L5_0, [(0,0,0.42,0.42), (2.42,0,2.84,0.42)])
R(clk_buf_quad_rlq2a__core, L6_0, [(0.13,0.13,0.29,0.29), (2.55,0.13,2.71,0.29)])
R(clk_buf_quad_rlq2a__core, L8_0, [(0,0,0.42,0.42), (2.42,0,2.84,0.42)])
R(clk_buf_quad_rlq2a__core, L24_0, [(0.42,0,2.42,0.42)])
R(clk_buf_quad_rlq2a__core, L111_0, [(0.42,0,2.42,0.42)])
R(clk_buf_quad_rlq2a__core, L128_0, [(0.42,0,2.42,0.42)])

rlq2a__clk_buf_quad_rlq2 = lib.new_cell('RLq2a__clk_buf_quad_RLq2a')
rlq2a__clk_buf_quad_rlq2.add(gdstk.Reference(clk_buf_quad_rlq2a__core, (0,0)))

clk_buf_quad_rlq2b__core = lib.new_cell('clk_buf_quad_RLq2b__core')
R(clk_buf_quad_rlq2b__core, L5_0, [(0,0,0.42,0.42), (2.42,0,2.84,0.42)])
R(clk_buf_quad_rlq2b__core, L6_0, [(0.13,0.13,0.29,0.29), (2.55,0.13,2.71,0.29)])
R(clk_buf_quad_rlq2b__core, L8_0, [(0,0,0.42,0.42), (2.42,0,2.84,0.42)])
R(clk_buf_quad_rlq2b__core, L24_0, [(0.42,0,2.42,0.42)])
R(clk_buf_quad_rlq2b__core, L111_0, [(0.42,0,2.42,0.42)])
R(clk_buf_quad_rlq2b__core, L128_0, [(0.42,0,2.42,0.42)])

rlq2b__clk_buf_quad_rlq2 = lib.new_cell('RLq2b__clk_buf_quad_RLq2b')
rlq2b__clk_buf_quad_rlq2.add(gdstk.Reference(clk_buf_quad_rlq2b__core, (0,0)))

clk_buf_quad = lib.new_cell('clk_buf_quad')
R(clk_buf_quad, L8_0, [(36.8,0,37.22,0.42), (45.06,0,45.48,0.42), (99.96,0,100.38,0.42), (102.38,0,102.8,0.42), (3.145,1.98,3.565,2.4), (11.845,1.98,12.265,2.4), (57.465,1.98,57.885,2.4), (57.465,1.98,57.885,2.4), (57.465,1.98,57.885,2.4), (66.165,1.98,66.585,2.4), (3.14,3.115,3.56,3.535), (6.14,3.115,6.56,3.535), (11.84,3.115,12.26,3.535), (14.84,3.115,15.26,3.535), (14.84,3.115,15.26,3.535), (3.145,4.25,3.565,4.67), (11.845,4.25,12.265,4.67), (11.845,4.25,12.265,4.67), (60.455,4.25,60.875,4.67), (69.155,4.25,69.575,4.67), (69.155,4.25,69.575,4.67), (45.06,10.11,45.48,10.53), (45.06,10.11,45.48,10.53), (99.38,10.11,99.8,10.53), (102.38,10.11,102.8,10.53), (6.135,12.09,6.555,12.51), (14.835,12.09,15.255,12.51), (57.465,12.09,57.885,12.51), (69.155,12.09,69.575,12.51), (6.14,13.225,6.56,13.645), (14.84,13.225,15.26,13.645), (3.145,14.36,3.565,14.78), (3.145,14.36,3.565,14.78), (11.845,14.36,12.265,14.78), (14.835,14.36,15.255,14.78), (57.465,14.36,57.885,14.78), (66.165,14.36,66.585,14.78), (66.165,14.36,66.585,14.78)])
R(clk_buf_quad, L10_0, [(36.8,0,37.22,0.42), (36.8,0,37.22,0.42), (45.06,0,45.48,0.42), (45.06,0,45.48,0.42), (99.96,0,100.38,0.42), (99.96,0,100.38,0.42), (102.38,0,102.8,0.42), (102.38,0,102.8,0.42), (3.145,1.98,3.565,2.4), (3.145,1.98,3.565,2.4), (11.845,1.98,12.265,2.4), (11.845,1.98,12.265,2.4), (57.465,1.98,57.885,2.4), (57.465,1.98,57.885,2.4), (57.465,1.98,57.885,2.4), (57.465,1.98,57.885,2.4), (57.465,1.98,57.885,2.4), (57.465,1.98,57.885,2.4), (66.165,1.98,66.585,2.4), (66.165,1.98,66.585,2.4), (3.14,3.115,3.56,3.535), (3.14,3.115,3.56,3.535), (6.14,3.115,6.56,3.535), (6.14,3.115,6.56,3.535), (11.84,3.115,12.26,3.535), (11.84,3.115,12.26,3.535), (14.84,3.115,15.26,3.535), (14.84,3.115,15.26,3.535), (14.84,3.115,15.26,3.535), (14.84,3.115,15.26,3.535), (3.145,4.25,3.565,4.67), (3.145,4.25,3.565,4.67), (11.845,4.25,12.265,4.67), (11.845,4.25,12.265,4.67), (11.845,4.25,12.265,4.67), (11.845,4.25,12.265,4.67), (60.455,4.25,60.875,4.67), (60.455,4.25,60.875,4.67), (69.155,4.25,69.575,4.67), (69.155,4.25,69.575,4.67), (69.155,4.25,69.575,4.67), (69.155,4.25,69.575,4.67), (45.06,10.11,45.48,10.53), (45.06,10.11,45.48,10.53), (45.06,10.11,45.48,10.53), (45.06,10.11,45.48,10.53), (99.38,10.11,99.8,10.53), (99.38,10.11,99.8,10.53), (102.38,10.11,102.8,10.53), (102.38,10.11,102.8,10.53), (6.135,12.09,6.555,12.51), (6.135,12.09,6.555,12.51), (14.835,12.09,15.255,12.51), (14.835,12.09,15.255,12.51), (57.465,12.09,57.885,12.51), (57.465,12.09,57.885,12.51), (69.155,12.09,69.575,12.51), (69.155,12.09,69.575,12.51), (6.14,13.225,6.56,13.645), (6.14,13.225,6.56,13.645), (14.84,13.225,15.26,13.645), (14.84,13.225,15.26,13.645), (3.145,14.36,3.565,14.78), (3.145,14.36,3.565,14.78), (3.145,14.36,3.565,14.78), (3.145,14.36,3.565,14.78), (11.845,14.36,12.265,14.78), (11.845,14.36,12.265,14.78), (14.835,14.36,15.255,14.78), (14.835,14.36,15.255,14.78), (57.465,14.36,57.885,14.78), (57.465,14.36,57.885,14.78), (66.165,14.36,66.585,14.78), (66.165,14.36,66.585,14.78), (66.165,14.36,66.585,14.78), (66.165,14.36,66.585,14.78)])
R(clk_buf_quad, L19_0, [(36.915,0.115,37.105,0.305), (45.175,0.115,45.365,0.305), (100.075,0.115,100.265,0.305), (102.495,0.115,102.685,0.305), (3.26,2.095,3.45,2.285), (11.96,2.095,12.15,2.285), (57.58,2.095,57.77,2.285), (57.58,2.095,57.77,2.285), (57.58,2.095,57.77,2.285), (66.28,2.095,66.47,2.285), (3.255,3.23,3.445,3.42), (6.255,3.23,6.445,3.42), (11.955,3.23,12.145,3.42), (14.955,3.23,15.145,3.42), (14.955,3.23,15.145,3.42), (3.26,4.365,3.45,4.555), (11.96,4.365,12.15,4.555), (11.96,4.365,12.15,4.555), (60.57,4.365,60.76,4.555), (69.27,4.365,69.46,4.555), (69.27,4.365,69.46,4.555), (45.175,10.225,45.365,10.415), (45.175,10.225,45.365,10.415), (99.495,10.225,99.685,10.415), (102.495,10.225,102.685,10.415), (6.25,12.205,6.44,12.395), (14.95,12.205,15.14,12.395), (57.58,12.205,57.77,12.395), (69.27,12.205,69.46,12.395), (6.255,13.34,6.445,13.53), (14.955,13.34,15.145,13.53), (3.26,14.475,3.45,14.665), (3.26,14.475,3.45,14.665), (11.96,14.475,12.15,14.665), (14.95,14.475,15.14,14.665), (57.58,14.475,57.77,14.665), (66.28,14.475,66.47,14.665), (66.28,14.475,66.47,14.665)])
R(clk_buf_quad, L29_0, [(36.915,0.115,37.105,0.305), (45.175,0.115,45.365,0.305), (100.075,0.115,100.265,0.305), (102.495,0.115,102.685,0.305), (3.26,2.095,3.45,2.285), (11.96,2.095,12.15,2.285), (57.58,2.095,57.77,2.285), (57.58,2.095,57.77,2.285), (57.58,2.095,57.77,2.285), (66.28,2.095,66.47,2.285), (3.255,3.23,3.445,3.42), (6.255,3.23,6.445,3.42), (11.955,3.23,12.145,3.42), (14.955,3.23,15.145,3.42), (14.955,3.23,15.145,3.42), (3.26,4.365,3.45,4.555), (11.96,4.365,12.15,4.555), (11.96,4.365,12.15,4.555), (60.57,4.365,60.76,4.555), (69.27,4.365,69.46,4.555), (69.27,4.365,69.46,4.555), (45.175,10.225,45.365,10.415), (45.175,10.225,45.365,10.415), (99.495,10.225,99.685,10.415), (102.495,10.225,102.685,10.415), (6.25,12.205,6.44,12.395), (14.95,12.205,15.14,12.395), (57.58,12.205,57.77,12.395), (69.27,12.205,69.46,12.395), (6.255,13.34,6.445,13.53), (14.955,13.34,15.145,13.53), (3.26,14.475,3.45,14.665), (3.26,14.475,3.45,14.665), (11.96,14.475,12.15,14.665), (14.95,14.475,15.14,14.665), (57.58,14.475,57.77,14.665), (66.28,14.475,66.47,14.665), (66.28,14.475,66.47,14.665)])
R(clk_buf_quad, L30_0, [(36.8,0,37.22,0.42), (45.06,0,45.48,0.42), (99.96,0,100.38,0.42), (102.38,0,102.8,0.42), (3.145,1.98,3.565,2.4), (11.845,1.98,12.265,2.4), (57.465,1.98,57.885,2.4), (57.465,1.98,57.885,2.4), (57.465,1.98,57.885,2.4), (66.165,1.98,66.585,2.4), (3.14,3.115,3.56,3.535), (6.14,3.115,6.56,3.535), (11.84,3.115,12.26,3.535), (14.84,3.115,15.26,3.535), (14.84,3.115,15.26,3.535), (3.145,4.25,3.565,4.67), (11.845,4.25,12.265,4.67), (11.845,4.25,12.265,4.67), (60.455,4.25,60.875,4.67), (69.155,4.25,69.575,4.67), (69.155,4.25,69.575,4.67), (45.06,10.11,45.48,10.53), (45.06,10.11,45.48,10.53), (99.38,10.11,99.8,10.53), (102.38,10.11,102.8,10.53), (6.135,12.09,6.555,12.51), (14.835,12.09,15.255,12.51), (57.465,12.09,57.885,12.51), (69.155,12.09,69.575,12.51), (6.14,13.225,6.56,13.645), (14.84,13.225,15.26,13.645), (3.145,14.36,3.565,14.78), (3.145,14.36,3.565,14.78), (11.845,14.36,12.265,14.78), (14.835,14.36,15.255,14.78), (57.465,14.36,57.885,14.78), (66.165,14.36,66.585,14.78), (66.165,14.36,66.585,14.78)])
clk_buf_quad.add(gdstk.FlexPath([(69.365,4.46),(69.365,4.66),(60.665,4.66),(60.665,4.46)], 0.2, ends="flush", simple_path=True, layer=30, datatype=0))  # L30_0
clk_buf_quad.add(gdstk.FlexPath([(69.365,4.46),(69.365,0.21),(100.17,0.21)], 0.2, ends="flush", simple_path=True, layer=30, datatype=0))  # L30_0
clk_buf_quad.add(gdstk.FlexPath([(57.675,14.57),(57.675,14.77),(66.375,14.77),(66.375,14.57)], 0.2, ends="flush", simple_path=True, layer=30, datatype=0))  # L30_0
clk_buf_quad.add(gdstk.FlexPath([(66.375,14.57),(66.375,10.32),(99.59,10.32)], 0.2, ends="flush", simple_path=True, layer=30, datatype=0))  # L30_0
clk_buf_quad.add(gdstk.FlexPath([(3.355,2.19),(3.355,2.39),(12.055,2.39),(12.055,2.19)], 0.2, ends="flush", simple_path=True, layer=30, datatype=0))  # L30_0
clk_buf_quad.add(gdstk.FlexPath([(15.045,12.3),(15.045,12.5),(6.345,12.5),(6.345,12.3)], 0.2, ends="flush", simple_path=True, layer=30, datatype=0))  # L30_0
clk_buf_quad.add(gdstk.FlexPath([(3.355,4.46),(3.355,4.66),(12.055,4.66),(12.055,4.46)], 0.2, ends="flush", simple_path=True, layer=30, datatype=0))  # L30_0
clk_buf_quad.add(gdstk.FlexPath([(57.675,2.19),(57.675,2.39),(66.375,2.39),(66.375,2.19)], 0.2, ends="flush", simple_path=True, layer=30, datatype=0))  # L30_0
clk_buf_quad.add(gdstk.FlexPath([(45.27,0.21),(57.675,0.21),(57.675,2.19)], 0.2, ends="flush", simple_path=True, layer=30, datatype=0))  # L30_0
clk_buf_quad.add(gdstk.FlexPath([(12.055,4.46),(12.055,7.31),(57.675,7.31),(57.675,2.19)], 0.2, ends="flush", simple_path=True, layer=30, datatype=0))  # L30_0
clk_buf_quad.add(gdstk.FlexPath([(3.355,14.57),(3.355,14.77),(12.055,14.77),(12.055,14.57)], 0.2, ends="flush", simple_path=True, layer=30, datatype=0))  # L30_0
clk_buf_quad.add(gdstk.FlexPath([(45.27,10.32),(57.675,10.32),(57.675,12.3)], 0.2, ends="flush", simple_path=True, layer=30, datatype=0))  # L30_0
clk_buf_quad.add(gdstk.FlexPath([(3.355,14.57),(3.355,10.32),(45.27,10.32)], 0.2, ends="flush", simple_path=True, layer=30, datatype=0))  # L30_0
clk_buf_quad.add(gdstk.FlexPath([(15.045,14.57),(15.045,17.42),(69.365,17.42),(69.365,12.3)], 0.2, ends="flush", simple_path=True, layer=30, datatype=0))  # L30_0
clk_buf_quad.add(gdstk.FlexPath([(3.35,3.325),(3.35,3.525),(12.05,3.525),(12.05,3.325)], 0.2, ends="flush", simple_path=True, layer=30, datatype=0))  # L30_0
clk_buf_quad.add(gdstk.FlexPath([(15.05,3.325),(15.05,3.525),(6.35,3.525),(6.35,3.325)], 0.2, ends="flush", simple_path=True, layer=30, datatype=0))  # L30_0
clk_buf_quad.add(gdstk.FlexPath([(15.05,3.325),(15.05,0.21),(37.01,0.21)], 0.2, ends="flush", simple_path=True, layer=30, datatype=0))  # L30_0
clk_buf_quad.add(gdstk.FlexPath([(15.05,13.435),(15.05,13.635),(6.35,13.635),(6.35,13.435)], 0.2, ends="flush", simple_path=True, layer=30, datatype=0))  # L30_0
clk_buf_quad.add(gdstk.FlexPath([(102.59,0.21),(102.79,0.21),(102.79,10.32),(102.59,10.32)], 0.2, ends="flush", simple_path=True, layer=30, datatype=0))  # L30_0
clk_buf_quad.add(gdstk.Reference(xqi1a__clk_buf_quad_xqi1, (0,0)))
clk_buf_quad.add(gdstk.Reference(xqi1b__clk_buf_quad_xqi1, (18.4,0), rotation=pi, x_reflection=True))
clk_buf_quad.add(gdstk.Reference(rti1__clk_buf_quad_rti1, (36.8,0)))
clk_buf_quad.add(gdstk.Reference(rli1a__clk_buf_quad_rli1, (42.64,0)))
clk_buf_quad.add(gdstk.Reference(rli1b__clk_buf_quad_rli1, (48.48,0), rotation=pi, x_reflection=True))
clk_buf_quad.add(gdstk.Reference(xqi2a__clk_buf_quad_xqi2, (54.32,0)))
clk_buf_quad.add(gdstk.Reference(xqi2b__clk_buf_quad_xqi2, (72.72,0), rotation=pi, x_reflection=True))
clk_buf_quad.add(gdstk.Reference(rti2__clk_buf_quad_rti2, (91.12,0)))
clk_buf_quad.add(gdstk.Reference(rli2a__clk_buf_quad_rli2, (96.96,0)))
clk_buf_quad.add(gdstk.Reference(rli2b__clk_buf_quad_rli2, (102.8,0), rotation=pi, x_reflection=True))
clk_buf_quad.add(gdstk.Reference(xqq1a__clk_buf_quad_xqq1, (0,10.11)))
clk_buf_quad.add(gdstk.Reference(xqq1b__clk_buf_quad_xqq1, (18.4,10.11), rotation=pi, x_reflection=True))
clk_buf_quad.add(gdstk.Reference(rtq1__clk_buf_quad_rtq1, (36.8,10.11)))
clk_buf_quad.add(gdstk.Reference(rlq1a__clk_buf_quad_rlq1, (42.64,10.11)))
clk_buf_quad.add(gdstk.Reference(rlq1b__clk_buf_quad_rlq1, (48.48,10.11), rotation=pi, x_reflection=True))
clk_buf_quad.add(gdstk.Reference(xqq2a__clk_buf_quad_xqq2, (54.32,10.11)))
clk_buf_quad.add(gdstk.Reference(xqq2b__clk_buf_quad_xqq2, (72.72,10.11), rotation=pi, x_reflection=True))
clk_buf_quad.add(gdstk.Reference(rtq2__clk_buf_quad_rtq2, (91.12,10.11)))
clk_buf_quad.add(gdstk.Reference(rlq2a__clk_buf_quad_rlq2, (96.96,10.11)))
clk_buf_quad.add(gdstk.Reference(rlq2b__clk_buf_quad_rlq2, (102.8,10.11), rotation=pi, x_reflection=True))
clk_buf_quad.add(gdstk.Label('b0', (65.015,4.66), layer=30, texttype=25))
clk_buf_quad.add(gdstk.Label('b270', (62.025,14.77), layer=30, texttype=25))
clk_buf_quad.add(gdstk.Label('ck0', (7.705,2.39), layer=30, texttype=25))
clk_buf_quad.add(gdstk.Label('ck270', (10.695,12.5), layer=30, texttype=25))
clk_buf_quad.add(gdstk.Label('min', (7.705,4.66), layer=30, texttype=25))
clk_buf_quad.add(gdstk.Label('mqn', (7.705,14.77), layer=30, texttype=25))
clk_buf_quad.add(gdstk.Label('mqp', (43.34,17.42), layer=30, texttype=25))
clk_buf_quad.add(gdstk.Label('ti1', (7.7,3.525), layer=30, texttype=25))
clk_buf_quad.add(gdstk.Label('tq1', (10.7,13.635), layer=30, texttype=25))
clk_buf_quad.add(gdstk.Label('vdd', (102.79,5.265), layer=30, texttype=25))

lib.write_gds('clk_buf_quad.gds')
